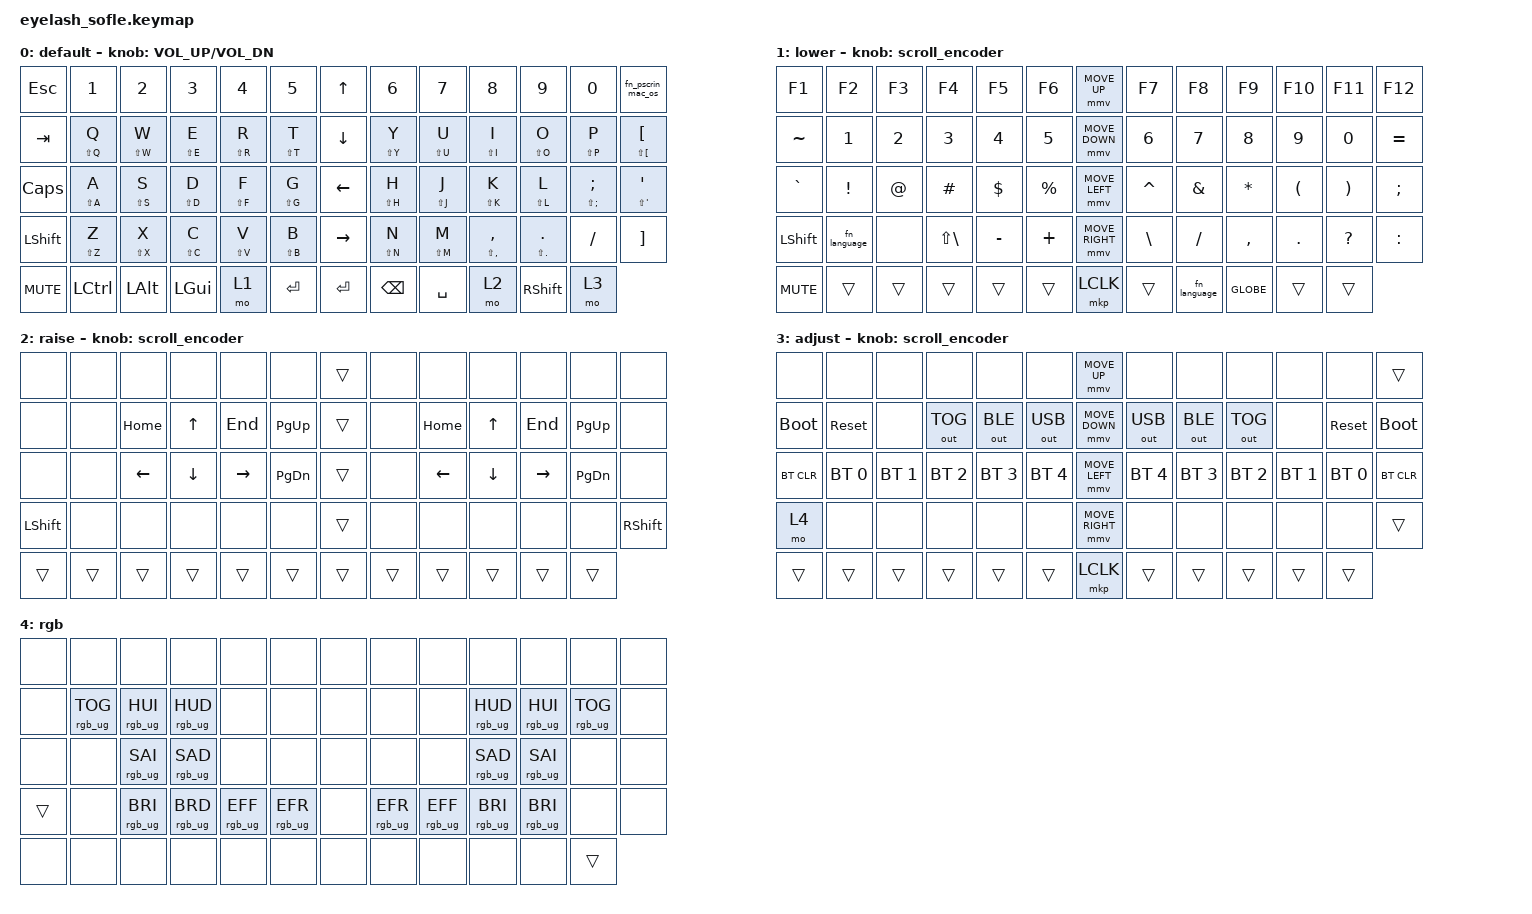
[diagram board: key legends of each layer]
#define ZMK_POINTING_DEFAULT_MOVE_VAL 1200  // 600
#define ZMK_POINTING_DEFAULT_SCRL_VAL 25   // 10

#include <input/processors.dtsi>
#include <zephyr/dt-bindings/input/input-event-codes.h>
#include <behaviors.dtsi>
#include <dt-bindings/zmk/bt.h>
#include <dt-bindings/zmk/keys.h>
#include <dt-bindings/zmk/outputs.h>
#include <dt-bindings/zmk/pointing.h>
#include <dt-bindings/zmk/rgb.h>

&mmv_input_listener { input-processors = <&zip_xy_scaler 2 1>; };

&msc_input_listener { input-processors = <&zip_scroll_scaler 2 1>; };

&msc {
    acceleration-exponent = <1>;      // 0
    time-to-max-speed-ms = <100>;       // 300
    delay-ms = <0>;                   // 0
};

&mmv {
    time-to-max-speed-ms = <500>;
    acceleration-exponent = <1>;
    trigger-period-ms = <16>;
};

&soft_off { hold-time-ms = <2000>; };

&mt {
    tapping-term-ms = <500>;
    flavor = "tap-preferred";
};

/ {
    scroll_encoder: scroll_encoder {
        compatible = "zmk,behavior-sensor-rotate";
        #sensor-binding-cells = <0>;
        bindings = <&msc SCRL_DOWN>, <&msc SCRL_UP>;

        tap-ms = <100>;
    };

    behaviors {
    };

    combos {
        compatible = "zmk,combos";

        tilde {
            bindings = <&kp TILDE>;
            key-positions = <13 26>;
            layers = <0>;
            require-prior-idle-ms = <300>;
        };

        grave {
            bindings = <&kp GRAVE>;
            key-positions = <26 39>;
            layers = <0>;
        };

        plus {
            bindings = <&kp PLUS>;
            key-positions = <15 16>;
            layers = <0>;
        };

        minus {
            bindings = <&kp MINUS>;
            key-positions = <16 17>;
            layers = <0>;
        };

        l_parenthesis {
            bindings = <&kp LEFT_PARENTHESIS>;
            key-positions = <17 18>;
            layers = <0>;
        };

        r_parenthesis {
            bindings = <&kp RIGHT_PARENTHESIS>;
            key-positions = <20 21>;
            layers = <0>;
        };

        underscore {
            bindings = <&kp UNDERSCORE>;
            key-positions = <21 22>;
            layers = <0>;
        };

        pipe {
            bindings = <&kp PIPE>;
            key-positions = <22 23>;
            layers = <0>;
        };

        double_quotes {
            bindings = <&kp DOUBLE_QUOTES>;
            key-positions = <29 30>;
            layers = <0>;
        };

        l_bracket {
            bindings = <&kp LEFT_BRACKET>;
            key-positions = <30 31>;
            layers = <0>;
        };

        r_bracket {
            bindings = <&kp RIGHT_BRACKET>;
            key-positions = <33 34>;
            layers = <0>;
        };

        quote {
            bindings = <&kp SQT>;
            key-positions = <34 35>;
            layers = <0>;
        };

        l_brace {
            bindings = <&kp LEFT_BRACE>;
            key-positions = <43 44>;
            layers = <0>;
        };

        r_brace {
            bindings = <&kp RIGHT_BRACE>;
            key-positions = <46 47>;
            layers = <0>;
        };

        equals {
            bindings = <&kp EQUAL>;
            key-positions = <36 35>;
            layers = <0>;
        };

        comma {
            bindings = <&kp COMMA>;
            key-positions = <42 43>;
            layers = <0>;
        };

        dot {
            bindings = <&kp DOT>;
            key-positions = <47 48>;
            layers = <0>;
        };

        pipe_c {
            bindings = <&fn_pipe>;
            key-positions = <36 37>;
            layers = <0>;
        };

        pipe_array {
            bindings = <&fn_array>;
            key-positions = <28 30>;
            layers = <0>;
        };

        pipe_ex {
            bindings = <&fn_ex>;
            key-positions = <34 36>;
            layers = <0>;
        };
    };

    macros {
        fn_array: fn_array {
            compatible = "zmk,behavior-macro";
            #binding-cells = <0>;
            bindings = <&kp EQUAL &kp GREATER_THAN>;
            label = "FN_ARRAY";
        };

        fn_ex: fn_ex {
            compatible = "zmk,behavior-macro";
            #binding-cells = <0>;
            bindings = <&kp MINUS &kp GREATER_THAN>;
            label = "FN_EX";
        };

        fn_pipe: fn_pipe {
            compatible = "zmk,behavior-macro";
            #binding-cells = <0>;
            bindings = <&kp PIPE &kp GREATER_THAN>;
            label = "FN_PIPE";
        };

        fn_language: fn_language {
            compatible = "zmk,behavior-macro";
            #binding-cells = <0>;
            bindings =
                <&macro_press>,
                <&kp LEFT_CONTROL>,
                <&macro_tap>,
                <&kp SPACE>,
                <&macro_release>,
                <&kp LEFT_CONTROL>;

            label = "FN_LANGUAGE";
        };

        fn_pscrin_mac_os: fn_pscrin_mac_os {
            compatible = "zmk,behavior-macro";
            #binding-cells = <0>;
            bindings = <&kp LG(LS(NUMBER_4))>;
            label = "FN_PSCRIN_MAC_OS";
        };
    };

    keymap {
        compatible = "zmk,keymap";

        default {
            bindings = <
&kp ESCAPE  &kp N1       &kp N2        &kp N3        &kp N4       &kp N5         &kp UP_ARROW     &kp N6         &kp N7       &kp N8               &kp N9           &kp N0             &fn_pscrin_mac_os
&kp TAB     &mt LS(Q) Q  &mt LS(W) W   &mt LS(E) E   &mt LS(R) R  &mt LS(T) T    &kp DOWN_ARROW   &mt LS(Y) Y    &mt LS(U) U  &mt LS(I) I          &mt LS(O) O      &mt LS(P) P        &mt LS(LBKT) LBKT
&kp CAPS    &mt LS(A) A  &mt LS(S) S   &mt LS(D) D   &mt LS(F) F  &mt LS(G) G    &kp LEFT_ARROW   &mt LS(H) H    &mt LS(J) J  &mt LS(K) K          &mt LS(L) L      &mt LS(SEMI) SEMI  &mt LS(APOS) APOS
&kp LSHFT   &mt LS(Z) Z  &mt LS(X) X   &mt LS(C) C   &mt LS(V) V  &mt LS(B) B    &kp RIGHT_ARROW  &mt LS(N) N    &mt LS(M) M  &mt LS(COMMA) COMMA  &mt LS(DOT) DOT  &kp FSLH           &kp RIGHT_BRACKET
&kp C_MUTE  &kp LCTRL    &kp LEFT_ALT  &kp LEFT_GUI  &mo 1        &kp RETURN     &kp ENTER        &kp BACKSPACE  &kp SPACE    &mo 2                &kp RIGHT_SHIFT  &mo 3
            >;

            sensor-bindings = <&inc_dec_kp C_VOLUME_UP C_VOL_DN>;
            display-name = "default";
        };

        lower {
            bindings = <
&kp F1          &kp F2           &kp F3        &kp F4             &kp F5        &kp F6          &mmv MOVE_UP     &kp F7         &kp F8         &kp F9        &kp F10   &kp F11       &kp F12
&kp TILDE       &kp NUMBER_1     &kp NUMBER_2  &kp NUMBER_3       &kp NUMBER_4  &kp NUMBER_5    &mmv MOVE_DOWN   &kp NUMBER_6   &kp NUMBER_7   &kp NUMBER_8  &kp N9    &kp N0        &kp EQUAL
&kp GRAVE       &kp EXCLAMATION  &kp AT_SIGN   &kp HASH           &kp DOLLAR    &kp PERCENT     &mmv MOVE_LEFT   &kp CARET      &kp AMPERSAND  &kp ASTERISK  &kp LPAR  &kp RPAR      &kp SEMICOLON
&kp LEFT_SHIFT  &fn_language     &none         &kp LS(BACKSLASH)  &kp MINUS     &kp PLUS        &mmv MOVE_RIGHT  &kp BACKSLASH  &kp SLASH      &kp COMMA     &kp DOT   &kp QUESTION  &kp COLON
&kp C_MUTE      &trans           &trans        &trans             &trans        &trans          &mkp LCLK        &trans         &fn_language   &kp GLOBE     &trans    &trans
            >;

            display-name = "lower";
            sensor-bindings = <&scroll_encoder>;
        };

        raise {
            bindings = <
&none           &none   &none     &none     &none      &none            &trans  &none   &none     &none     &none      &none          &none
&none           &none   &kp HOME  &kp UP    &kp END    &kp PG_UP        &trans  &none   &kp HOME  &kp UP    &kp END    &kp PG_UP      &none
&none           &none   &kp LEFT  &kp DOWN  &kp RIGHT  &kp PAGE_DOWN    &trans  &none   &kp LEFT  &kp DOWN  &kp RIGHT  &kp PAGE_DOWN  &none
&kp LEFT_SHIFT  &none   &none     &none     &none      &none            &trans  &none   &none     &none     &none      &none          &kp RIGHT_SHIFT
&trans          &trans  &trans    &trans    &trans     &trans           &trans  &trans  &trans    &trans    &trans     &trans
            >;

            display-name = "raise";
            sensor-bindings = <&scroll_encoder>;
        };

        adjust {
            bindings = <
&none        &none         &none         &none         &none         &none           &mmv MOVE_UP     &none         &none         &none         &none         &none         &trans
&bootloader  &sys_reset    &none         &out OUT_TOG  &out OUT_BLE  &out OUT_USB    &mmv MOVE_DOWN   &out OUT_USB  &out OUT_BLE  &out OUT_TOG  &none         &sys_reset    &bootloader
&bt BT_CLR   &bt BT_SEL 0  &bt BT_SEL 1  &bt BT_SEL 2  &bt BT_SEL 3  &bt BT_SEL 4    &mmv MOVE_LEFT   &bt BT_SEL 4  &bt BT_SEL 3  &bt BT_SEL 2  &bt BT_SEL 1  &bt BT_SEL 0  &bt BT_CLR
&mo 4        &none         &none         &none         &none         &none           &mmv MOVE_RIGHT  &none         &none         &none         &none         &none         &trans
&trans       &trans        &trans        &trans        &trans        &trans          &mkp LCLK        &trans        &trans        &trans        &trans        &trans
            >;

            display-name = "adjust";
            sensor-bindings = <&scroll_encoder>;
        };

        grb {
            bindings = <
&none   &none            &none            &none            &none            &none              &none  &none            &none            &none            &none            &none            &none
&none   &rgb_ug RGB_TOG  &rgb_ug RGB_HUI  &rgb_ug RGB_HUD  &none            &none              &none  &none            &none            &rgb_ug RGB_HUD  &rgb_ug RGB_HUI  &rgb_ug RGB_TOG  &none
&none   &none            &rgb_ug RGB_SAI  &rgb_ug RGB_SAD  &none            &none              &none  &none            &none            &rgb_ug RGB_SAD  &rgb_ug RGB_SAI  &none            &none
&trans  &none            &rgb_ug RGB_BRI  &rgb_ug RGB_BRD  &rgb_ug RGB_EFF  &rgb_ug RGB_EFR    &none  &rgb_ug RGB_EFR  &rgb_ug RGB_EFF  &rgb_ug RGB_BRI  &rgb_ug RGB_BRI  &none            &none
&none   &none            &none            &none            &none            &none              &none  &none            &none            &none            &none            &trans
            >;

            label = "rgb";
        };
    };
};
